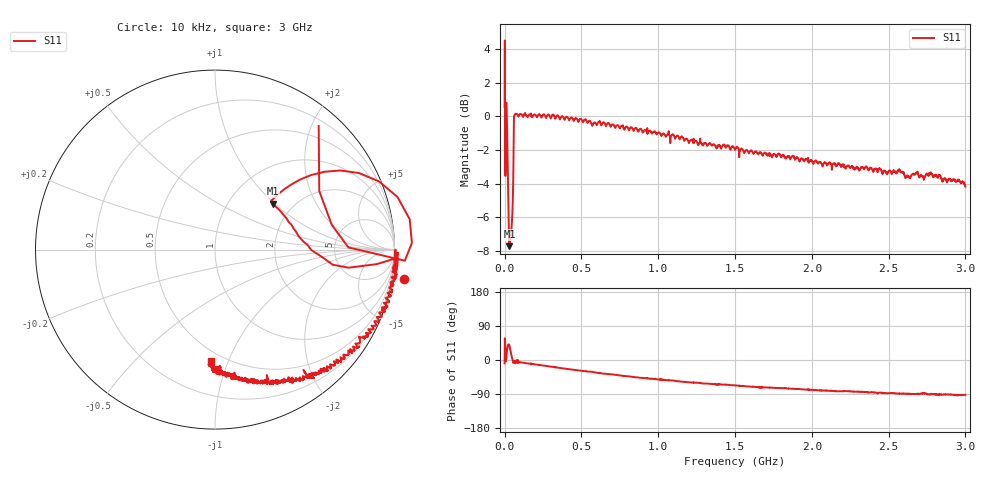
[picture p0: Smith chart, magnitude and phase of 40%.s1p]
# HZ S RI R 50
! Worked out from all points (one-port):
!   2020 points, 10 kHz to 3 GHz, reference 50 ohm
!   lowest |S11| = -7.7 dB at 31.21 MHz (marker M1), VSWR 2.40, Z = 78.9 + j48.7 ohm
!   |S11| at or under -10 dB: nowhere
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10000  1.055 -0.1656
5953516  0.6507 0.1377
1.635467e7  0.8022 0.4266
1.784055e7  0.6981 0.4407
1.932643e7  0.6093 0.4336
2.378406e7  0.4292 0.3651
2.675582e7  0.359 0.3146
3.121346e7  0.3213 0.2564
3.715698e7  0.3838 0.1911
4.310049e7  0.4384 0.1173
5.350164e7  0.5654 -0.021
6.39028e7  1.004 -0.0705
7.133219e7  1.016 -0.0487
7.578983e7  1.018 -0.0166
3.759374e8  0.9286 -0.3745
6.211074e8  0.7877 -0.5478
7.503789e8  0.6988 -0.5996
1.126306e9  0.4899 -0.7268
1.372962e9  0.3732 -0.7284
1.500748e9  0.3117 -0.7314
1.661223e9  0.236 -0.7447
1.875189e9  0.1842 -0.7389
2.251117e9  0.0886 -0.6961
2.573552e9  0.0158 -0.6853
2.625558e9  0.0112 -0.6662
2.72957e9  0.0274 -0.6467
2.769688e9  -0.00506 -0.6771
3e9  -0.0203 -0.6179
